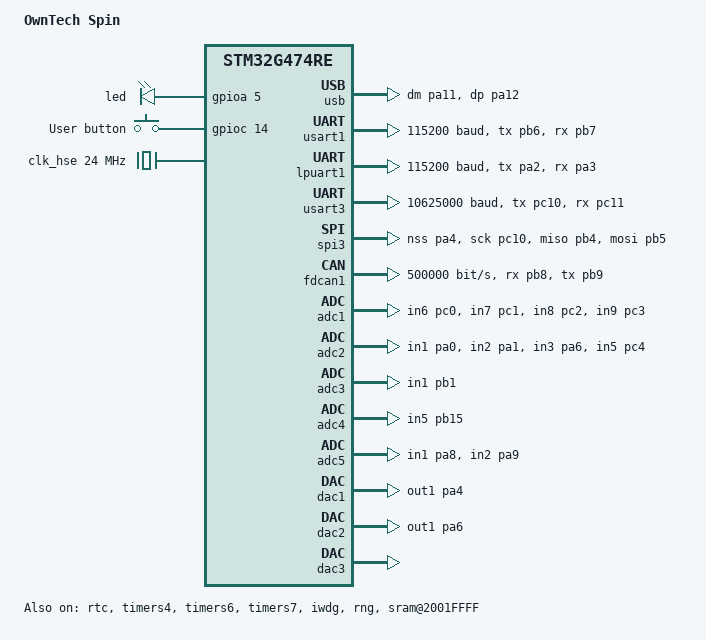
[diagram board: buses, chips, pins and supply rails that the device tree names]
/*
 * Copyright (c) 2022-2024 OwnTech.
 *
 * SPDX-License-Identifier: LGPL-2.1
 */

/dts-v1/;

// SOC defintions
#include <st/g4/stm32g474Xe.dtsi>
#include <st/g4/stm32g474r(b-c-e)tx-pinctrl.dtsi>

// Board-related definitions
#include "spin_header.dtsi"
#include "pinctrl.dtsi"
#include "hrtim.dtsi"
#include "adc.dtsi"
#include "gpio.dtsi"


/ {
	model = "OwnTech Spin";
	compatible = "owntech,spin", "st,stm32g474re-nucleo";

	chosen {
		zephyr,code-partition = &slot0_partition;
		zephyr,console = &cdc_acm_uart0;
		zephyr,sram = &sram0;
		zephyr,flash = &flash0;
		zephyr,can-primary = &fdcan1;
		zephyr,boot-mode = &retention0;
		thingset,can = &fdcan1;
	};

	leds {
		compatible = "gpio-leds";
		led: led_0 {
			gpios = <&gpioa 5 GPIO_ACTIVE_HIGH>;
		};
	};

	gpio_keys {
		compatible = "gpio-keys";
		btn: button_0 {
			label = "User button";
			gpios = <&gpioc 14 (GPIO_PULL_DOWN | GPIO_ACTIVE_HIGH)>;
		};
	};

	aliases {
		led0 = &led;
		sw0 = &btn;
	};

	sram@2001FFFF {
		/*
		 * For more information, see:
		 * https://docs.zephyrproject.org/latest/services/retention/index.html
		 */
		compatible = "zephyr,memory-region", "mmio-sram";
		reg = <0x2001FFFF 0x1>;
		zephyr,memory-region = "RetainedMem";
		status = "okay";

		retainedmem {
			compatible = "zephyr,retained-ram";
			status = "okay";
			#address-cells = <1>;
			#size-cells = <1>;

			/* Create a single-byte partition */
			retention0: retention@0 {
				compatible = "zephyr,retention";
				status = "okay";
				reg = <0x0 0x1>;
			};
		};
	};
};

/**********/
/* Clocks */
/**********/

&clk_lsi {
	status = "okay";
};

&clk_hsi48 {
	status = "okay";
};

&clk_hse {
	clock-frequency = <DT_FREQ_M(24)>;
	status = "okay";
};

&pll {
	div-m = <6>;
	mul-n = <85>;
	div-p = <7>;
	div-q = <2>;
	div-r = <2>;
	clocks = <&clk_hse>;
	status = "okay";
};

&rcc {
	clocks = <&pll>;
	clock-frequency = <DT_FREQ_M(170)>;
	ahb-prescaler = <1>;
	apb1-prescaler = <1>;
	apb2-prescaler = <1>;
};

&rtc {
	status = "okay";
};

/***********/
/* Storage */
/***********/

&flash0 {
	/*
	 * For more information, see:
	 * http://docs.zephyrproject.org/latest/guides/dts/index.html#flash-partitions
	 */
	partitions {
		compatible = "fixed-partitions";
		#address-cells = <1>;
		#size-cells = <1>;

		boot_partition: partition@0 {
			label = "mcuboot";
			reg = <0x00000 0x10000>;
		};

		slot0_partition: partition@10000 {
			label = "image-0";
			reg = <0x00010000 0x00037800>;
		};

		slot1_partition: partition@47800 {
			label = "image-1";
			reg = <0x00047800 0x00037800>;
		};

		/* Set 4Kb of storage at the end of the 512Kb of flash */
		storage_partition: partition@7F000 {
			label = "storage";
			reg = <0x7F000 0x1000>;
		};
	};
};

/* Reduce SRAM0 usage by 1 byte to account for retained memory */
&sram0 {
	reg = <0x20000000 0x1FFFF>;
};

/*****************/
/* Communication */
/*****************/

/*********/
/* USB */
/*********/

&usb {
	disconnect-gpios = <&gpioa 12 GPIO_ACTIVE_HIGH>;
	status = "okay";
};

zephyr_udc0: &usb {
	pinctrl-0 = <&usb_dm_pa11 &usb_dp_pa12>;
	pinctrl-names = "default";
	status = "okay";
	cdc_acm_uart0: cdc_acm_uart0 {
		compatible = "zephyr,cdc-acm-uart";
	};
};


// UART

&usart1 {
	pinctrl-0 = <&usart1_tx_pb6 &usart1_rx_pb7>;
	pinctrl-names = "default";
	current-speed = <115200>;
	status = "okay";
};

&lpuart1 {
	pinctrl-0 = <&lpuart1_tx_pa2 &lpuart1_rx_pa3>;
	pinctrl-names = "default";
	current-speed = <115200>;
	status = "okay";
};

&usart3 {
	pinctrl-0 = < &usart3_tx_pc10 &usart3_rx_pc11 >;
	pinctrl-names = "default";
	current-speed = <10625000>;
	status = "okay";
};

// SPI

&spi3 {
	pinctrl-0 = <&spi3_nss_pa4 &spi3_sck_pc10 &spi3_miso_pb4 &spi3_mosi_pb5>;
	pinctrl-names = "default";
	status = "okay";
};

// CAN

&fdcan1 {
	pinctrl-0 = <&fdcan1_rx_pb8 &fdcan1_tx_pb9>;
	pinctrl-names = "default";
	bus-speed = <500000>;
	sample-point = <875>;
	bus-speed-data = <500000>;
	sample-point-data = <875>;
	status = "okay";
};

/*********/
/* Timer */
/*********/

&timers4 {
	status = "okay";

	encoder {
		pinctrl-0 = <&tim4_etr_pb3 &tim4_ch1_pb6 &tim4_ch2_pb7>;
		pinctrl-names = "incremental_encoder";
	};
};

&timers6 {
	status = "okay";
};

&timers7 {
	status = "okay";
};

/*******/
/* DMA */
/*******/

&dma1 {
	status = "okay";
};

&dmamux1 {
	status = "okay";
};

/*******/
/* ADC */
/*******/

&adc1 {
	pinctrl-0 = <&adc1_in6_pc0 &adc1_in7_pc1 &adc1_in8_pc2 &adc1_in9_pc3>;
	pinctrl-names = "default";
	st,adc-clock-source = <SYNC>;
	st,adc-prescaler = <4>;
	status = "okay";
};

&adc2 {
	pinctrl-0 = <&adc2_in1_pa0 &adc2_in2_pa1 &adc2_in3_pa6 &adc2_in5_pc4>;
	pinctrl-names = "default";
	st,adc-clock-source = <SYNC>;
	st,adc-prescaler = <4>;
	status = "okay";
};

&adc3 {
	pinctrl-0 = <&adc3_in1_pb1>;
	pinctrl-names = "default";
	st,adc-clock-source = <SYNC>;
	st,adc-prescaler = <4>;
	status = "okay";
};

&adc4 {
	pinctrl-0 = <&adc4_in5_pb15>;
	pinctrl-names = "default";
	st,adc-clock-source = <SYNC>;
	st,adc-prescaler = <4>;
	status = "okay";
};

&adc5 {
	pinctrl-0 = <&adc5_in1_pa8 &adc5_in2_pa9>;
	pinctrl-names = "default";
	st,adc-clock-source = <SYNC>;
	st,adc-prescaler = <4>;
	status = "okay";
};

/*******/
/* DAC */
/*******/

&dac1 {
	status = "okay";
	pinctrl-0 = <&dac1_out1_pa4>;
	pinctrl-1 = <&dac1_out2_pa5>;
	pinctrl-names = "default", "secondary";
};

&dac2 {
	status = "okay";
	pinctrl-0 = <&dac2_out1_pa6>;
	pinctrl-names = "default";
};

&dac3 {
	status = "okay";
	pinctrl-0 = <&dac3_dummy>;
	pinctrl-names = "phantom";
};

/***********/
/* Various */
/***********/

&iwdg {
	status = "okay";
};

&rng {
	status = "okay";
};
